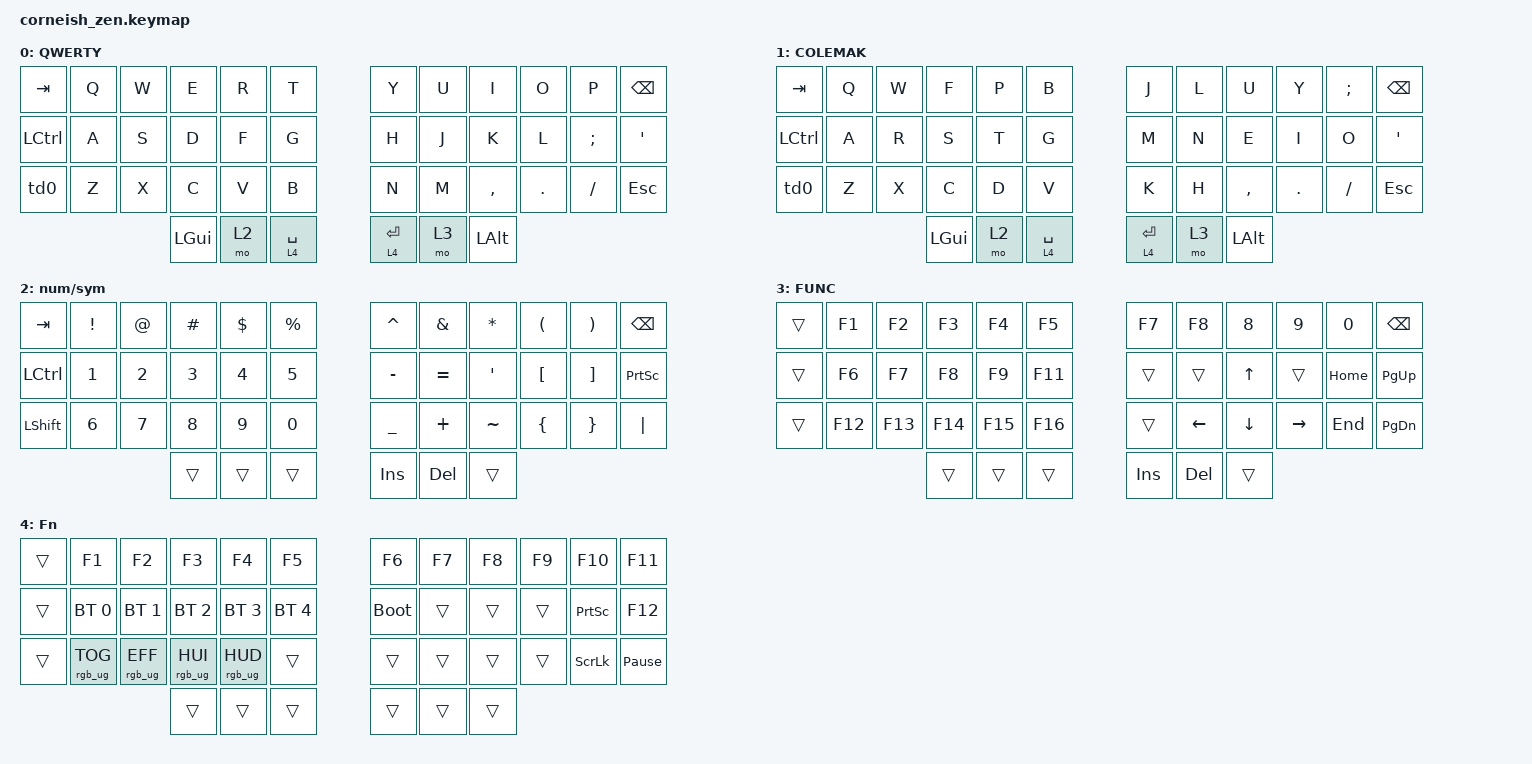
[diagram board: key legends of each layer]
/*
 * Copyright (c) 2020 The ZMK Contributors
 *
 * SPDX-License-Identifier: MIT
 */

#include <behaviors.dtsi>
#include <dt-bindings/zmk/bt.h>
#include <dt-bindings/zmk/keys.h>
#include <dt-bindings/zmk/rgb.h>

/ {
    chosen {
        zmk,matrix_transform = &default_transform;

        // zmk,matrix_transform = &five_column_transform;
    };
};

/ {
    behaviors {
        td0: td0 {
            compatible = "zmk,behavior-tap-dance";
            label = "TD0";
            #binding-cells = <0>;
            bindings = <&kp LEFT_SHIFT>, <&kp CAPS>;
        };

        layoutswitch: layoutswitch {
            compatible = "zmk,behavior-tap-dance";
            label = "LAYOUTSWITCH";
            #binding-cells = <0>;
            bindings = <&kp LEFT_SHIFT>, <&kp CAPS>;
        };

        new_behavior: new_behavior {
            compatible = "zmk,behavior-tap-dance";
            label = "NEW_BEHAVIOR";
            #binding-cells = <0>;
            bindings = <&mo 3>, <&tog 0>, <&tog 1>;
        };
    };

    keymap {
        compatible = "zmk,keymap";

        default_layer {
            display-name = "QWERTY";

            // --------------------------------------------------------------------------------
            // |  TAB |  Q  |  W  |  E  |  R  |  T  |   |  Y  |  U   |  I  |  O  |  P  | BKSP |
            // | CTRL |  A  |  S  |  D  |  F  |  G  |   |  H  |  J   |  K  |  L  |  ;  |  '   | 
            // | SHFT |  Z  |  X  |  C  |  V  |  B  |   |  N  |  M   |  ,  |  .  |  /  | ESC  |
            //                    | GUI | LWR | SPC |   | ENT | RSE  | ALT |

            bindings = <
&kp TAB    &kp Q  &kp W  &kp E     &kp R  &kp T          &kp Y        &kp U  &kp I         &kp O    &kp P     &kp BSPC
&kp LCTRL  &kp A  &kp S  &kp D     &kp F  &kp G          &kp H        &kp J  &kp K         &kp L    &kp SEMI  &kp SQT
&td0       &kp Z  &kp X  &kp C     &kp V  &kp B          &kp N        &kp M  &kp COMMA     &kp DOT  &kp FSLH  &kp ESC
                         &kp LGUI  &mo 2  &lt 4 SPACE    &lt 4 ENTER  &mo 3  &kp LEFT_ALT
            >;
        };

        COLEMAK {
            display-name = "COLEMAK";
            bindings = <
&kp TAB    &kp Q  &kp W  &kp F     &kp P  &kp B          &kp J        &kp L  &kp U         &kp Y    &kp SEMI  &kp BSPC
&kp LCTRL  &kp A  &kp R  &kp S     &kp T  &kp G          &kp M        &kp N  &kp E         &kp I    &kp O     &kp SQT
&td0       &kp Z  &kp X  &kp C     &kp D  &kp V          &kp K        &kp H  &kp COMMA     &kp DOT  &kp FSLH  &kp ESC
                         &kp LGUI  &mo 2  &lt 4 SPACE    &lt 4 ENTER  &mo 3  &kp LEFT_ALT
            >;
        };

        lower_layer {
            display-name = "num/sym";

            // -----------------------------------------------------------------------------------------
            // |  TAB |  1  |  2  |  3  |  4  |  5  |   |  6  |  7  |  8  |  9  |  0  | BKSP |
            // | BTCLR| BT1 | BT2 | BT3 | BT4 | BT5 |   | LFT | DWN |  UP | RGT |     |      |
            // | SHFT |     |     |     |     |     |   |     |     |     |     |     |      |
            //                    | GUI |     | SPC |   | ENT |     | ALT |

            bindings = <
&kp TAB           &kp EXCL  &kp AT  &kp HASH  &kp DLLR  &kp PRCNT    &kp CARET       &kp AMPS   &kp ASTERISK  &kp LEFT_PARENTHESIS  &kp RIGHT_PARENTHESIS  &kp BSPC
&kp LEFT_CONTROL  &kp N1    &kp N2  &kp N3    &kp N4    &kp N5       &kp MINUS       &kp EQUAL  &kp SQT       &kp LBKT              &kp RBKT               &kp PRINTSCREEN
&kp LEFT_SHIFT    &kp N6    &kp N7  &kp N8    &kp N9    &kp N0       &kp UNDERSCORE  &kp PLUS   &kp TILDE     &kp LEFT_BRACE        &kp RIGHT_BRACE        &kp PIPE
                                    &trans    &trans    &trans       &kp INS         &kp DEL    &trans
            >;
        };

        FUNCTIONS {
            display-name = "FUNC";
            bindings = <
&trans  &kp F1   &kp F2   &kp F3   &kp F4   &kp F5     &kp F7   &kp F8    &kp N8    &kp N9     &kp N0    &kp BSPC
&trans  &kp F6   &kp F7   &kp F8   &kp F9   &kp F11    &trans   &trans    &kp UP    &trans     &kp HOME  &kp PG_UP
&trans  &kp F12  &kp F13  &kp F14  &kp F15  &kp F16    &trans   &kp LEFT  &kp DOWN  &kp RIGHT  &kp END   &kp PG_DN
                          &trans   &trans   &trans     &kp INS  &kp DEL   &trans
            >;
        };

        layer_3 {
            display-name = "Fn";
            bindings = <
&trans  &kp F1           &kp F2           &kp F3           &kp F4           &kp F5          &kp F6       &kp F7  &kp F8  &kp F9  &kp F10          &kp F11
&trans  &bt BT_SEL 0     &bt BT_SEL 1     &bt BT_SEL 2     &bt BT_SEL 3     &bt BT_SEL 4    &bootloader  &trans  &trans  &trans  &kp PRINTSCREEN  &kp F12
&trans  &rgb_ug RGB_TOG  &rgb_ug RGB_EFF  &rgb_ug RGB_HUI  &rgb_ug RGB_HUD  &trans          &trans       &trans  &trans  &trans  &kp SCROLLLOCK   &kp PAUSE_BREAK
                                          &trans           &trans           &trans          &trans       &trans  &trans
            >;
        };
    };
};
